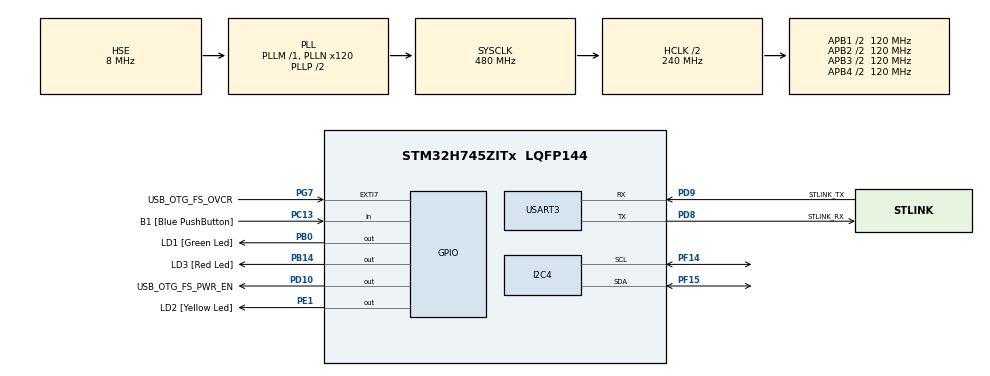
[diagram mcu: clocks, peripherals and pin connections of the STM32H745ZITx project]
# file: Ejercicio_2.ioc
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CortexM4.IPs=FATFS_M4\:I,FREERTOS_M4\:I,IWDG2\:I,RCC,WWDG2\:I,DMA,BDMA,MDMA,NVIC2\:I,DEBUG,USB_DEVICE_M4\:I,USB_HOST_M4\:I,PDM2PCM_M4\:I,PWR,RESMGR_UTILITY,SYS_M4\:I,CORTEX_M4\:I,OPENAMP_M4\:I,VREFBUF,GPIO
CortexM7.IPs=FATFS_M7\:I,FREERTOS_M7\:I,IWDG1\:I,RCC\:I,WWDG1\:I,DMA\:I,BDMA\:I,MDMA\:I,NVIC1\:I,SYS\:I,CORTEX_M7\:I,DEBUG\:I,USB_DEVICE_M7\:I,USB_HOST_M7\:I,PDM2PCM_M7\:I,PWR\:I,RESMGR_UTILITY\:I,OPENAMP_M7\:I,VREFBUF\:I,GPIO\:I,TIM2\:I,I2C4\:I,USART3\:I,TIM5\:I
CortexM7.Pins=PB0,PB14,PE1
I2C4.Timing=0x307075B1
Mcu.Family=STM32H7
Mcu.Name=STM32H745ZITx
Mcu.Package=LQFP144
NVIC1.PriorityGroup=NVIC_PRIORITYGROUP_4
NVIC1.TIM2_IRQn=true\:0\:0\:false\:false\:true\:true\:true\:true
NVIC2.PriorityGroup=NVIC_PRIORITYGROUP_4
PA1.PinAttribute=CortexM7
PA1.Signal=ETH_REF_CLK
PA11.PinAttribute=CortexM7
PA11.Signal=USB_OTG_FS_DM
PA12.PinAttribute=CortexM7
PA12.Signal=USB_OTG_FS_DP
PA2.PinAttribute=CortexM7
PA2.Signal=ETH_MDIO
PA7.PinAttribute=CortexM7
PA7.Signal=ETH_CRS_DV
PA8.PinAttribute=CortexM7
PA8.Signal=USB_OTG_FS_SOF
PA9.PinAttribute=CortexM7
PA9.Signal=USB_OTG_FS_VBUS
PB0.GPIO_Label=LD1 [Green Led]
PB0.GPIO_PuPd=GPIO_PULLUP
PB0.GPIO_Speed=GPIO_SPEED_FREQ_HIGH
PB0.PinAttribute=CortexM7
PB0.Signal=GPIO_Output
PB13.PinAttribute=CortexM7
PB13.Signal=ETH_TXD1
PB14.GPIO_Label=LD3 [Red Led]
PB14.GPIO_PuPd=GPIO_PULLDOWN
PB14.GPIO_Speed=GPIO_SPEED_FREQ_HIGH
PB14.PinAttribute=CortexM7
PB14.PinState=GPIO_PIN_RESET
PB14.Signal=GPIO_Output
PC1.PinAttribute=CortexM7
PC1.Signal=ETH_MDC
PC13.GPIO_Label=B1 [Blue PushButton]
PC13.PinAttribute=Free
PC13.Signal=GPIO_Input
PC14-OSC32_IN\ (OSC32_IN).Mode=LSE-External-Oscillator
PC14-OSC32_IN\ (OSC32_IN).PinAttribute=CortexM7
PC14-OSC32_IN\ (OSC32_IN).Signal=RCC_OSC32_IN
PC15-OSC32_OUT\ (OSC32_OUT).Mode=LSE-External-Oscillator
PC15-OSC32_OUT\ (OSC32_OUT).PinAttribute=CortexM7
PC15-OSC32_OUT\ (OSC32_OUT).Signal=RCC_OSC32_OUT
PC4.PinAttribute=CortexM7
PC4.Signal=ETH_RXD0
PC5.PinAttribute=CortexM7
PC5.Signal=ETH_RXD1
PD10.GPIO_Label=USB_OTG_FS_PWR_EN
PD10.PinAttribute=Free
PD10.Signal=GPIO_Output
PD8.GPIO_Label=STLINK_RX
PD8.Mode=Asynchronous
PD8.PinAttribute=CortexM7
PD8.Signal=USART3_TX
PD9.GPIO_Label=STLINK_TX
PD9.Mode=Asynchronous
PD9.PinAttribute=CortexM7
PD9.Signal=USART3_RX
PE1.GPIO_Label=LD2 [Yellow Led]
PE1.GPIO_PuPd=GPIO_PULLDOWN
PE1.GPIO_Speed=GPIO_SPEED_FREQ_HIGH
PE1.PinAttribute=CortexM7
PE1.Signal=GPIO_Output
PF14.Mode=I2C
PF14.PinAttribute=CortexM7
PF14.Signal=I2C4_SCL
PF15.Mode=I2C
PF15.PinAttribute=CortexM7
PF15.Signal=I2C4_SDA
PG11.PinAttribute=CortexM7
PG11.Signal=ETH_TX_EN
PG13.PinAttribute=CortexM7
PG13.Signal=ETH_TXD0
PG7.GPIO_Label=USB_OTG_FS_OVCR
PG7.PinAttribute=Free
PG7.Signal=GPXTI7
PH0-OSC_IN\ (PH0).Mode=HSE-External-Clock-Source
PH0-OSC_IN\ (PH0).PinAttribute=CortexM7
PH0-OSC_IN\ (PH0).Signal=RCC_OSC_IN
PH1-OSC_OUT\ (PH1).PinAttribute=CortexM7
PH1-OSC_OUT\ (PH1).Signal=RCC_OSC_OUT
ProjectManager.HeapSize=M4-0x200,M7-0x200
ProjectManager.StackSize=M4-0x400,M7-0x400
ProjectManager.TargetToolchain=STM32CubeIDE
RCC.ADCFreq_Value=16125000
RCC.APB1Freq_Value=120000000
RCC.APB2Freq_Value=120000000
RCC.APB3Freq_Value=120000000
RCC.APB4Freq_Value=120000000
RCC.CortexFreq_Value=480000000
RCC.D1PPRE=RCC_APB3_DIV2
RCC.D2PPRE1=RCC_APB1_DIV2
RCC.D2PPRE2=RCC_APB2_DIV2
RCC.D3PPRE=RCC_APB4_DIV2
RCC.DIVM1=1
RCC.DIVM3=1
RCC.DIVN1=120
RCC.DIVN3=24
RCC.DIVQ3=4
RCC.HCLKFreq_Value=240000000
RCC.HPRE=RCC_HCLK_DIV2
RCC.HSE_VALUE=8000000
RCC.PLL2FRACN=0
RCC.PLL3FRACN=0
RCC.PLLFRACN=0
RCC.PLLSourceVirtual=RCC_PLLSOURCE_HSE
RCC.SYSCLKFreq_VALUE=480000000
RCC.SYSCLKSource=RCC_SYSCLKSOURCE_PLLCLK
RCC.SupplySource=PWR_DIRECT_SMPS_SUPPLY
RCC.USBCLockSelection=RCC_USBCLKSOURCE_PLL3
RCC.USBFreq_Value=48000000
TIM2.Period=5000
TIM2.Prescaler=48000
TIM5.Prescaler=240
USART3.VirtualMode-Asynchronous=VM_ASYNC
VP_SYS_M4_VS_Systick.Mode=SysTick
VP_TIM2_VS_ClockSourceINT.Mode=Internal
VP_TIM5_VS_ClockSourceINT.Mode=Internal
board=NUCLEO-H745ZI-Q

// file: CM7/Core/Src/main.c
/* USER CODE BEGIN Header */
/**
  ******************************************************************************
  * @file           : main.c
  * @brief          : Main program body
  ******************************************************************************
  * @attention
  *
  * Copyright (c) 2022 STMicroelectronics.
  * All rights reserved.
  *
  * This software is licensed under terms that can be found in the LICENSE file
  * in the root directory of this software component.
  * If no LICENSE file comes with this software, it is provided AS-IS.
  *
  ******************************************************************************
  */
/* USER CODE END Header */
#include "main.h"

/* USER CODE BEGIN PTD */
#define MPU6050_ADDR 0xD0
#define WHO_AM_I 0x75
#define SMPLRT_DIV 0x19
#define TEMP_OUT_H 0x41
#define PWR_MGMT_1 0x6B

/* USER CODE END PTD */

/* USER CODE BEGIN PD */

#ifndef HSEM_ID_0
#define HSEM_ID_0 (0U) /* HW semaphore 0*/
#endif
/* USER CODE END PD */

I2C_HandleTypeDef hi2c4;

TIM_HandleTypeDef htim2;
TIM_HandleTypeDef htim5;

UART_HandleTypeDef huart3;

/* USER CODE BEGIN PV */
const int size = 100;

int16_t temp_read;
float temp;
char lcd_buf[16];
int16_t lcd_buf_len;
char uart_buf[50];
uint16_t uart_buf_len;

float selSort_array[100];
float bubSort_array[100];
float temp_array[100];
int count;

// Inicialización de variables para comparar tiempos
unsigned timer_val;
int16_t index;
int timeSelSort_us[100];
int timeBubSort_us[100];
int timeSeqSearch_us[100];
int timeBinSearch_us[100];
float promSelSort = 0;
float promBubSort = 0;
float promSeqSearch = 0;
float promBinSearch = 0;
uint8_t ind = 0;

/* USER CODE END PV */

void SystemClock_Config(void);
static void MX_GPIO_Init(void);
static void MX_I2C4_Init(void);
static void MX_TIM2_Init(void);
static void MX_USART3_UART_Init(void);
static void MX_TIM5_Init(void);
/* USER CODE BEGIN PFP */
static void MPU6050_init(void);
static void MPU6050_read_temp(void);
static void swapped(float *v1, float *v2);
static void selectionSort(float *arr, int size);
static void bubbleSort(float *arr, int size);
static int sequentialSearch(float *arr, int size, float value);
static int binarySearch(float *arr, int size, float value);
static void algorithms(void);
static void displayLoop(void);
/* USER CODE END PFP */

int main(void)
{
/* USER CODE BEGIN Boot_Mode_Sequence_0 */
  int32_t timeout;
/* USER CODE END Boot_Mode_Sequence_0 */

/* USER CODE BEGIN Boot_Mode_Sequence_1 */
  /* Wait until CPU2 boots and enters in stop mode or timeout*/
  timeout = 0xFFFF;
  while((__HAL_RCC_GET_FLAG(RCC_FLAG_D2CKRDY) != RESET) && (timeout-- > 0));
  if ( timeout < 0 )
  {
  Error_Handler();
  }
/* USER CODE END Boot_Mode_Sequence_1 */
  /* MCU Configuration--------------------------------------------------------*/

  /* Reset of all peripherals, Initializes the Flash interface and the Systick. */
  HAL_Init();

  /* Configure the system clock */
  SystemClock_Config();
/* USER CODE BEGIN Boot_Mode_Sequence_2 */
/* When system initialization is finished, Cortex-M7 will release Cortex-M4 by means of
HSEM notification */
/*HW semaphore Clock enable*/
__HAL_RCC_HSEM_CLK_ENABLE();
/*Take HSEM */
HAL_HSEM_FastTake(HSEM_ID_0);
/*Release HSEM in order to notify the CPU2(CM4)*/
HAL_HSEM_Release(HSEM_ID_0,0);
/* wait until CPU2 wakes up from stop mode */
timeout = 0xFFFF;
while((__HAL_RCC_GET_FLAG(RCC_FLAG_D2CKRDY) == RESET) && (timeout-- > 0));
if ( timeout < 0 )
{
Error_Handler();
}
/* USER CODE END Boot_Mode_Sequence_2 */

  /* Initialize all configured peripherals */
  MX_GPIO_Init();
  MX_I2C4_Init();
  MX_TIM2_Init();
  MX_USART3_UART_Init();
  MX_TIM5_Init();
  /* USER CODE BEGIN 2 */
  // Revisión de conexión del MPU6050
  HAL_StatusTypeDef status;
  status = HAL_I2C_IsDeviceReady(&hi2c4, MPU6050_ADDR, 1, 3000);
  if (status == HAL_OK) HAL_GPIO_WritePin(GPIOB, GPIO_PIN_0, SET);
  else HAL_GPIO_WritePin(GPIOB, GPIO_PIN_14, SET);
  HAL_Delay(500);

  // Prueba de comunicación UART
  uart_buf_len = sprintf(uart_buf, "MPU6050 Temp test\r\n");
  HAL_UART_Transmit(&huart3, &uart_buf, uart_buf_len, 100);

  // Inicialización del MPU6050
  MPU6050_init();

  //Inicialización de interrupciones por timer
  HAL_TIM_Base_Start(&htim5);
  HAL_TIM_Base_Start_IT(&htim2);

  // Inicialización del LCD
  lcd_init();

  /* USER CODE END 2 */

  /* Infinite loop */
  while (1)
  {

    /* USER CODE BEGIN 3 */
	  if (ind == 1){
	  			lcd_clear();
	  			lcd_put_cur(0, 0);
	  			lcd_send_string("Selection Sort:");
	  			lcd_put_cur(1, 0);
	  			lcd_buf_len = sprintf(lcd_buf, "%.2f useg", promSelSort);
	  			lcd_send_string(lcd_buf);
	  			ind++;
	  		} else if (ind == 2){
	  			lcd_clear();
	  			lcd_put_cur(0, 0);
	  			lcd_send_string("Bubble Sort:");
	  			lcd_put_cur(1, 0);
	  			lcd_buf_len = sprintf(lcd_buf, "%.2f useg", promBubSort);
	  			lcd_send_string(lcd_buf);
	  			ind++;
	  		} else if(ind == 3){
	  			lcd_clear();
	  			lcd_put_cur(0, 0);
	  			lcd_send_string("Seq. Search:");
	  			lcd_put_cur(1, 0);
	  			lcd_buf_len = sprintf(lcd_buf, "%.2f useg", promSeqSearch);
	  			lcd_send_string(lcd_buf);
	  			ind++;
	  		} else if (ind == 4){
	  			lcd_clear();
	  			lcd_put_cur(0, 0);
	  			lcd_send_string("Binary Search:");
	  			lcd_put_cur(1, 0);
	  			lcd_buf_len = sprintf(lcd_buf, "%.2f useg", promBinSearch);
	  			lcd_send_string(lcd_buf);
	  			ind = 1;
	  		}

	  	HAL_Delay(1000);
  }
  /* USER CODE END 3 */
}

void SystemClock_Config(void)
{
  RCC_OscInitTypeDef RCC_OscInitStruct = {0};
  RCC_ClkInitTypeDef RCC_ClkInitStruct = {0};

  /** Supply configuration update enable
  */
  HAL_PWREx_ConfigSupply(PWR_DIRECT_SMPS_SUPPLY);

  /** Configure the main internal regulator output voltage
  */
  __HAL_PWR_VOLTAGESCALING_CONFIG(PWR_REGULATOR_VOLTAGE_SCALE0);

  while(!__HAL_PWR_GET_FLAG(PWR_FLAG_VOSRDY)) {}

  /** Initializes the RCC Oscillators according to the specified parameters
  * in the RCC_OscInitTypeDef structure.
  */
  RCC_OscInitStruct.OscillatorType = RCC_OSCILLATORTYPE_HSE;
  RCC_OscInitStruct.HSEState = RCC_HSE_BYPASS;
  RCC_OscInitStruct.PLL.PLLState = RCC_PLL_ON;
  RCC_OscInitStruct.PLL.PLLSource = RCC_PLLSOURCE_HSE;
  RCC_OscInitStruct.PLL.PLLM = 1;
  RCC_OscInitStruct.PLL.PLLN = 120;
  RCC_OscInitStruct.PLL.PLLP = 2;
  RCC_OscInitStruct.PLL.PLLQ = 2;
  RCC_OscInitStruct.PLL.PLLR = 2;
  RCC_OscInitStruct.PLL.PLLRGE = RCC_PLL1VCIRANGE_3;
  RCC_OscInitStruct.PLL.PLLVCOSEL = RCC_PLL1VCOWIDE;
  RCC_OscInitStruct.PLL.PLLFRACN = 0;
  if (HAL_RCC_OscConfig(&RCC_OscInitStruct) != HAL_OK)
  {
    Error_Handler();
  }

  /** Initializes the CPU, AHB and APB buses clocks
  */
  RCC_ClkInitStruct.ClockType = RCC_CLOCKTYPE_HCLK|RCC_CLOCKTYPE_SYSCLK
                              |RCC_CLOCKTYPE_PCLK1|RCC_CLOCKTYPE_PCLK2
                              |RCC_CLOCKTYPE_D3PCLK1|RCC_CLOCKTYPE_D1PCLK1;
  RCC_ClkInitStruct.SYSCLKSource = RCC_SYSCLKSOURCE_PLLCLK;
  RCC_ClkInitStruct.SYSCLKDivider = RCC_SYSCLK_DIV1;
  RCC_ClkInitStruct.AHBCLKDivider = RCC_HCLK_DIV2;
  RCC_ClkInitStruct.APB3CLKDivider = RCC_APB3_DIV2;
  RCC_ClkInitStruct.APB1CLKDivider = RCC_APB1_DIV2;
  RCC_ClkInitStruct.APB2CLKDivider = RCC_APB2_DIV2;
  RCC_ClkInitStruct.APB4CLKDivider = RCC_APB4_DIV2;

  if (HAL_RCC_ClockConfig(&RCC_ClkInitStruct, FLASH_LATENCY_4) != HAL_OK)
  {
    Error_Handler();
  }
}

static void MX_I2C4_Init(void)
{

  hi2c4.Instance = I2C4;
  hi2c4.Init.Timing = 0x307075B1;
  hi2c4.Init.OwnAddress1 = 0;
  hi2c4.Init.AddressingMode = I2C_ADDRESSINGMODE_7BIT;
  hi2c4.Init.DualAddressMode = I2C_DUALADDRESS_DISABLE;
  hi2c4.Init.OwnAddress2 = 0;
  hi2c4.Init.OwnAddress2Masks = I2C_OA2_NOMASK;
  hi2c4.Init.GeneralCallMode = I2C_GENERALCALL_DISABLE;
  hi2c4.Init.NoStretchMode = I2C_NOSTRETCH_DISABLE;
  if (HAL_I2C_Init(&hi2c4) != HAL_OK)
  {
    Error_Handler();
  }

  /** Configure Analogue filter
  */
  if (HAL_I2CEx_ConfigAnalogFilter(&hi2c4, I2C_ANALOGFILTER_ENABLE) != HAL_OK)
  {
    Error_Handler();
  }

  /** Configure Digital filter
  */
  if (HAL_I2CEx_ConfigDigitalFilter(&hi2c4, 0) != HAL_OK)
  {
    Error_Handler();
  }

}

static void MX_TIM2_Init(void)
{

  TIM_ClockConfigTypeDef sClockSourceConfig = {0};
  TIM_MasterConfigTypeDef sMasterConfig = {0};

  htim2.Instance = TIM2;
  htim2.Init.Prescaler = 48000;
  htim2.Init.CounterMode = TIM_COUNTERMODE_UP;
  htim2.Init.Period = 5000;
  htim2.Init.ClockDivision = TIM_CLOCKDIVISION_DIV1;
  htim2.Init.AutoReloadPreload = TIM_AUTORELOAD_PRELOAD_DISABLE;
  if (HAL_TIM_Base_Init(&htim2) != HAL_OK)
  {
    Error_Handler();
  }
  sClockSourceConfig.ClockSource = TIM_CLOCKSOURCE_INTERNAL;
  if (HAL_TIM_ConfigClockSource(&htim2, &sClockSourceConfig) != HAL_OK)
  {
    Error_Handler();
  }
  sMasterConfig.MasterOutputTrigger = TIM_TRGO_RESET;
  sMasterConfig.MasterSlaveMode = TIM_MASTERSLAVEMODE_DISABLE;
  if (HAL_TIMEx_MasterConfigSynchronization(&htim2, &sMasterConfig) != HAL_OK)
  {
    Error_Handler();
  }

}

static void MX_TIM5_Init(void)
{

  TIM_ClockConfigTypeDef sClockSourceConfig = {0};
  TIM_MasterConfigTypeDef sMasterConfig = {0};

  htim5.Instance = TIM5;
  htim5.Init.Prescaler = 240;
  htim5.Init.CounterMode = TIM_COUNTERMODE_UP;
  htim5.Init.Period = 4294967295;
  htim5.Init.ClockDivision = TIM_CLOCKDIVISION_DIV1;
  htim5.Init.AutoReloadPreload = TIM_AUTORELOAD_PRELOAD_DISABLE;
  if (HAL_TIM_Base_Init(&htim5) != HAL_OK)
  {
    Error_Handler();
  }
  sClockSourceConfig.ClockSource = TIM_CLOCKSOURCE_INTERNAL;
  if (HAL_TIM_ConfigClockSource(&htim5, &sClockSourceConfig) != HAL_OK)
  {
    Error_Handler();
  }
  sMasterConfig.MasterOutputTrigger = TIM_TRGO_RESET;
  sMasterConfig.MasterSlaveMode = TIM_MASTERSLAVEMODE_DISABLE;
  if (HAL_TIMEx_MasterConfigSynchronization(&htim5, &sMasterConfig) != HAL_OK)
  {
    Error_Handler();
  }

}

static void MX_USART3_UART_Init(void)
{

  huart3.Instance = USART3;
  huart3.Init.BaudRate = 115200;
  huart3.Init.WordLength = UART_WORDLENGTH_8B;
  huart3.Init.StopBits = UART_STOPBITS_1;
  huart3.Init.Parity = UART_PARITY_NONE;
  huart3.Init.Mode = UART_MODE_TX_RX;
  huart3.Init.HwFlowCtl = UART_HWCONTROL_NONE;
  huart3.Init.OverSampling = UART_OVERSAMPLING_16;
  huart3.Init.OneBitSampling = UART_ONE_BIT_SAMPLE_DISABLE;
  huart3.Init.ClockPrescaler = UART_PRESCALER_DIV1;
  huart3.AdvancedInit.AdvFeatureInit = UART_ADVFEATURE_NO_INIT;
  if (HAL_UART_Init(&huart3) != HAL_OK)
  {
    Error_Handler();
  }
  if (HAL_UARTEx_SetTxFifoThreshold(&huart3, UART_TXFIFO_THRESHOLD_1_8) != HAL_OK)
  {
    Error_Handler();
  }
  if (HAL_UARTEx_SetRxFifoThreshold(&huart3, UART_RXFIFO_THRESHOLD_1_8) != HAL_OK)
  {
    Error_Handler();
  }
  if (HAL_UARTEx_DisableFifoMode(&huart3) != HAL_OK)
  {
    Error_Handler();
  }

}

static void MX_GPIO_Init(void)
{
  GPIO_InitTypeDef GPIO_InitStruct = {0};

  /* GPIO Ports Clock Enable */
  __HAL_RCC_GPIOC_CLK_ENABLE();
  __HAL_RCC_GPIOH_CLK_ENABLE();
  __HAL_RCC_GPIOB_CLK_ENABLE();
  __HAL_RCC_GPIOF_CLK_ENABLE();
  __HAL_RCC_GPIOD_CLK_ENABLE();
  __HAL_RCC_GPIOE_CLK_ENABLE();

  /*Configure GPIO pin Output Level */
  HAL_GPIO_WritePin(GPIOB, LD1_Pin|LD3_Pin, GPIO_PIN_RESET);

  /*Configure GPIO pin Output Level */
  HAL_GPIO_WritePin(LD2_GPIO_Port, LD2_Pin, GPIO_PIN_RESET);

  /*Configure GPIO pin : LD1_Pin */
  GPIO_InitStruct.Pin = LD1_Pin;
  GPIO_InitStruct.Mode = GPIO_MODE_OUTPUT_PP;
  GPIO_InitStruct.Pull = GPIO_PULLUP;
  GPIO_InitStruct.Speed = GPIO_SPEED_FREQ_HIGH;
  HAL_GPIO_Init(LD1_GPIO_Port, &GPIO_InitStruct);

  /*Configure GPIO pin : LD3_Pin */
  GPIO_InitStruct.Pin = LD3_Pin;
  GPIO_InitStruct.Mode = GPIO_MODE_OUTPUT_PP;
  GPIO_InitStruct.Pull = GPIO_PULLDOWN;
  GPIO_InitStruct.Speed = GPIO_SPEED_FREQ_HIGH;
  HAL_GPIO_Init(LD3_GPIO_Port, &GPIO_InitStruct);

  /*Configure GPIO pin : LD2_Pin */
  GPIO_InitStruct.Pin = LD2_Pin;
  GPIO_InitStruct.Mode = GPIO_MODE_OUTPUT_PP;
  GPIO_InitStruct.Pull = GPIO_PULLDOWN;
  GPIO_InitStruct.Speed = GPIO_SPEED_FREQ_HIGH;
  HAL_GPIO_Init(LD2_GPIO_Port, &GPIO_InitStruct);

}

/* USER CODE BEGIN 4 */

void MPU6050_init(void){
	uint8_t check, data;
	HAL_I2C_Mem_Read(&hi2c4, MPU6050_ADDR, WHO_AM_I, 1, &check, 1, 3000);

	data = 0x00;
	HAL_I2C_Mem_Write(&hi2c4, MPU6050_ADDR, PWR_MGMT_1, 1, &data, 1, 3000);
	data = 0b10000111;
	HAL_I2C_Mem_Write(&hi2c4, MPU6050_ADDR, SMPLRT_DIV, 1, &data, 1, 3000);

}

void MPU6050_read_temp(void){
	uint8_t read_temp[2];

	HAL_I2C_Mem_Read(&hi2c4, MPU6050_ADDR, TEMP_OUT_H, 1, read_temp, 2, 3000);

	temp_read = (int16_t)(read_temp[0] << 8 | read_temp[1]);

	temp = (temp_read/340.0) + 36.53;
}

void HAL_TIM_PeriodElapsedCallback(TIM_HandleTypeDef *htim){
	if (htim == &htim2)
	{
		// Comprobación de interrupción
		HAL_GPIO_TogglePin(GPIOB, GPIO_PIN_0);

		// Lectura de datos
		MPU6050_read_temp();
		selSort_array[count] = temp;
		bubSort_array[count] = temp;
		temp_array[count] = temp;

		// Visualización de los datos en puerto serial y LCD
		//lcd_clear();
		lcd_put_cur(0, 0);
		lcd_buf_len = sprintf(lcd_buf, "[%u] %.2f C", count, temp);
		lcd_send_string(lcd_buf);

		uart_buf_len = sprintf(uart_buf, "[%u] %.2f °C \r\n", count, temp);
		HAL_UART_Transmit(&huart3, &uart_buf, uart_buf_len, 100);

		count++;
		if (count == size){
			count = 0;
			HAL_TIM_Base_Stop_IT(&htim2);
			HAL_GPIO_WritePin(GPIOB, GPIO_PIN_0, SET);
			algorithms();
		}
	}
}

void swapped(float *v1, float *v2){
    int swap = *v1;
    *v1 = *v2;
    *v2 = swap;
}

void selectionSort(float *arr, int size){
    for(int i = 0; i < size-1; i++){
        int min_idx = i;
        for(int j = i + 1; j < size; j++){
            if(arr[j] < arr[min_idx]){
                min_idx = j;
            }
        }
        if(i != min_idx){
            swapped(&arr[i], &arr[min_idx]);
        }
    }
}

void bubbleSort(float *arr, int size){
    for(int i = 0; i < size-1; i++){
        for(int j = 0; j < size-1-i; j++){
            if(arr[j] > arr[j+1]){
                swapped(&arr[j], &arr[j+1]);
            }
        }
    }
}

int sequentialSearch(float *arr, int size, float value){
    if(size < 0) return -1;
    for(int i = 0; i < size; i++){
        if(arr[i] == value){
            return i;
        }
    }
    return -1;
}

int binarySearch(float *arr, int size, float value){
    int min = 0;
    int max = size - 1;
    int found = 0;

    while(found == 0){
        if (min > max){
            return -1;
        }

        int mid = (min + max)/2;
        if(arr[mid] == value){
            found = 1;
            return mid;
        } else if(arr[mid] < value){
            min = mid + 1;
        } else{
            max = mid - 1;
        }
    }
}

void algorithms(void){
	for(int16_t i = 0; i < 100; i++){
		uart_buf_len = sprintf(uart_buf, "Muestra: %u\r\n", i);
		HAL_UART_Transmit(&huart3, (uint8_t *)uart_buf, uart_buf_len, 100);

		uart_buf_len = sprintf(uart_buf, "Selection Sort\r\n");
		HAL_UART_Transmit(&huart3, (uint8_t *)uart_buf, uart_buf_len, 100);
		timer_val = __HAL_TIM_GET_COUNTER(&htim5);
		selectionSort(selSort_array, size);
		timer_val = __HAL_TIM_GET_COUNTER(&htim5) - timer_val;
		timeSelSort_us[i] = timer_val;
		promSelSort += timer_val;
		uart_buf_len = sprintf(uart_buf, "Tiempo transcurrido: %u us\r\n", timer_val);
		HAL_UART_Transmit(&huart3, (uint8_t *)uart_buf, uart_buf_len, 100);

		uart_buf_len = sprintf(uart_buf, "Bubble Sort\r\n");
		HAL_UART_Transmit(&huart3, (uint8_t *)uart_buf, uart_buf_len, 100);
		timer_val = __HAL_TIM_GET_COUNTER(&htim5);
		bubbleSort(bubSort_array, size);
		timer_val = __HAL_TIM_GET_COUNTER(&htim5) - timer_val;
		timeBubSort_us[i] = timer_val;
		promBubSort += timer_val;
		uart_buf_len = sprintf(uart_buf, "Tiempo transcurrido: %u us\r\n", timer_val);
		HAL_UART_Transmit(&huart3, (uint8_t *)uart_buf, uart_buf_len, 100);

		uart_buf_len = sprintf(uart_buf, "Sequential Search\r\n");
		HAL_UART_Transmit(&huart3, (uint8_t *)uart_buf, uart_buf_len, 100);
		timer_val = __HAL_TIM_GET_COUNTER(&htim5);
		index = sequentialSearch(selSort_array, size, temp_array[50]);
		timer_val = __HAL_TIM_GET_COUNTER(&htim5) - timer_val;
		timeSeqSearch_us[i] = timer_val;
		promSeqSearch += timer_val;
		uart_buf_len = sprintf(uart_buf, "Tiempo transcurrido: %u us\r\n", timer_val);
		HAL_UART_Transmit(&huart3, (uint8_t *)uart_buf, uart_buf_len, 100);
		uart_buf_len = sprintf(uart_buf, "Indice del valor %.2f: %u \r\n", temp_array[50], index);
		HAL_UART_Transmit(&huart3, (uint8_t *)uart_buf, uart_buf_len, 100);

		uart_buf_len = sprintf(uart_buf, "Binary Search\r\n");
		HAL_UART_Transmit(&huart3, (uint8_t *)uart_buf, uart_buf_len, 100);
		timer_val = __HAL_TIM_GET_COUNTER(&htim5);
		binarySearch(selSort_array, size, temp_array[50]);
		timer_val = __HAL_TIM_GET_COUNTER(&htim5) - timer_val;
		timeBinSearch_us[i] = timer_val;
		promBinSearch += timer_val;
		uart_buf_len = sprintf(uart_buf, "Tiempo transcurrido: %u us\r\n", timer_val);
		HAL_UART_Transmit(&huart3, (uint8_t *)uart_buf, uart_buf_len, 100);
		uart_buf_len = sprintf(uart_buf, "Indice del valor %.2f: %u \r\n", temp_array[50], index);
		HAL_UART_Transmit(&huart3, (uint8_t *)uart_buf, uart_buf_len, 100);

		for (int j = 0; j < 100; j++){
			bubSort_array[j] = temp_array[j];
			selSort_array[j] = temp_array[j];
		}
	}

	promSelSort = promSelSort/100;
	promBubSort = promBubSort/100;
	promSeqSearch = promSeqSearch/100;
	promBinSearch = promBinSearch/100;
	displayLoop();
}

void displayLoop(void){
	ind = 1;
	lcd_clear();
	uart_buf_len = sprintf(uart_buf, "Selection Sort: %.2f useg \r\n", promSelSort);
	HAL_UART_Transmit(&huart3, (uint8_t *)uart_buf, uart_buf_len, 100);
	uart_buf_len = sprintf(uart_buf, "Bubble Sort: %.2f useg \r\n", promBubSort);
	HAL_UART_Transmit(&huart3, (uint8_t *)uart_buf, uart_buf_len, 100);
	uart_buf_len = sprintf(uart_buf, "Sequential Search: %.2f useg \r\n", promSeqSearch);
	HAL_UART_Transmit(&huart3, (uint8_t *)uart_buf, uart_buf_len, 100);
	uart_buf_len = sprintf(uart_buf, "BinarySearch: %.2f useg \r\n", promBinSearch);
	HAL_UART_Transmit(&huart3, (uint8_t *)uart_buf, uart_buf_len, 100);

}

/* USER CODE END 4 */

void Error_Handler(void)
{
  __disable_irq();
  while (1)
  {
  }
}
